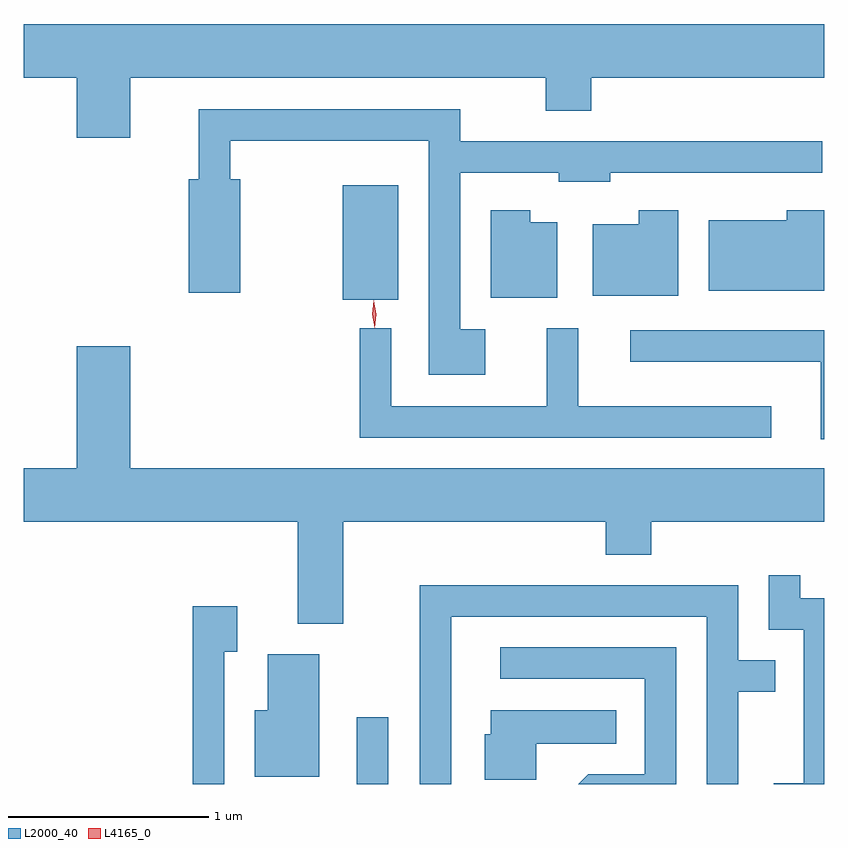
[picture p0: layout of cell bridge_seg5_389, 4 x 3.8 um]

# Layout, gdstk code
import gdstk
lib = gdstk.Library(unit=1e-6, precision=1e-09)
def R(c, l, rs):  # rectangles x0, y0, x1, y1
    for r in rs: c.add(gdstk.rectangle(r[:2], r[2:], *l))
def P(c, l, *ps):  # polygons
    for p in ps: c.add(gdstk.Polygon(p, *l))
L2000_40 = (2000, 40)
L4165_0 = (4165, 0)

bridge_seg5_389 = lib.new_cell('bridge_seg5_389')
R(bridge_seg5_389, L2000_40, [(596.096,1495.445,596.254,1495.778), (596.026,1497.866,596.304,1498.439)])
P(bridge_seg5_389, L2000_40, [(594.964,1498.976),(597.041,1498.976),(597.041,1498.811),(597.269,1498.811),(597.269,1498.976),(598.433,1498.976),(598.433,1499.244),(594.433,1499.244),(594.433,1498.976),(594.696,1498.976),(594.696,1498.676),(594.964,1498.676)],
  [(596.739,1497.719),(596.614,1497.719),(596.614,1498.501),(597.106,1498.501),(597.106,1498.456),(597.364,1498.456),(597.364,1498.501),(598.423,1498.501),(598.423,1498.659),(596.614,1498.659),(596.614,1498.819),(595.306,1498.819),(595.306,1498.469),(595.256,1498.469),(595.256,1497.901),(595.514,1497.901),(595.514,1498.469),(595.464,1498.469),(595.464,1498.661),(596.456,1498.661),(596.456,1497.491),(596.739,1497.491)],
  [(597.099,1498.254),(596.964,1498.254),(596.964,1498.314),(596.766,1498.314),(596.766,1497.876),(597.099,1497.876)],
  [(597.704,1498.314),(597.506,1498.314),(597.506,1498.244),(597.276,1498.244),(597.276,1497.886),(597.704,1497.886)],
  [(598.433,1498.314),(598.246,1498.314),(598.246,1498.264),(597.856,1498.264),(597.856,1497.911),(598.433,1497.911)],
  [(598.168,1497.334),(597.204,1497.334),(597.204,1497.723),(597.046,1497.723),(597.046,1497.334),(596.269,1497.334),(596.269,1497.723),(596.111,1497.723),(596.111,1497.176),(598.168,1497.176)],
  [(598.433,1497.714),(597.463,1497.714),(597.463,1497.556),(598.416,1497.556),(598.416,1497.168),(598.433,1497.168)],
  [(596.029,1496.756),(597.341,1496.756),(597.341,1496.591),(597.569,1496.591),(597.569,1496.756),(598.433,1496.756),(598.433,1497.024),(594.964,1497.024),(594.964,1497.634),(594.696,1497.634),(594.696,1497.024),(594.433,1497.024),(594.433,1496.756),(595.801,1496.756),(595.801,1496.246),(596.029,1496.246)],
  [(598.433,1496.374),(598.314,1496.374),(598.314,1496.488),(598.156,1496.488),(598.156,1496.216),(598.331,1496.216),(598.331,1495.449),(598.181,1495.449),(598.181,1495.445),(598.433,1495.445)],
  [(596.569,1496.281),(597.846,1496.281),(597.846,1495.445),(598.004,1495.445),(598.004,1495.906),(598.188,1495.906),(598.188,1496.064),(598.004,1496.064),(598.004,1496.439),(596.411,1496.439),(596.411,1495.445),(596.569,1495.445)],
  [(595.434,1496.106),(595.499,1496.106),(595.499,1496.334),(595.276,1496.334),(595.276,1495.445),(595.434,1495.445)],
  [(597.694,1496.129),(596.813,1496.129),(596.813,1495.971),(597.536,1495.971),(597.536,1495.494),(597.254,1495.494),(597.205,1495.445),(597.694,1495.445)],
  [(595.909,1496.094),(595.651,1496.094),(595.651,1495.814),(595.586,1495.814),(595.586,1495.481),(595.909,1495.481)],
  [(596.994,1495.646),(597.393,1495.646),(597.393,1495.814),(596.766,1495.814),(596.766,1495.694),(596.736,1495.694),(596.736,1495.466),(596.994,1495.466)])
P(bridge_seg5_389, L4165_0, [(596.186,1497.728),(596.186,1497.728),(596.174,1497.793),(596.182,1497.859),(596.182,1497.859),(596.182,1497.859),(596.194,1497.794),(596.186,1497.728)],
  [(596.187,1497.724),(596.187,1497.725),(596.175,1497.793),(596.182,1497.861),(596.182,1497.862),(596.182,1497.861),(596.194,1497.793),(596.188,1497.725)])

lib.write_gds('bridge_seg5_389.gds')
